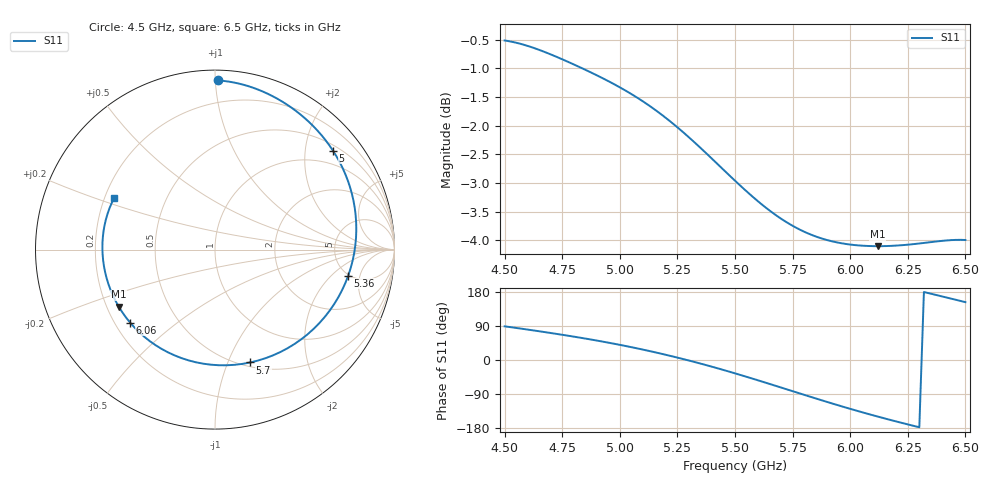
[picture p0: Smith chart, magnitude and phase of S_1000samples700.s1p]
! TOUCHSTONE file generated by CST MICROWAVE STUDIO
! Date and time: Sat Oct 29 02:03:46 2022
! Project name: L.cst
! Parameters = {Di=1.27; Epsilon_r=1.56; InnerDiameter=1.27; Length=2; Lf=10; Lg=60; OuterConductorThickness=0.2921; OuterDiameter=3.6; Wf=3; Wp=41.2; de=1.5; df=6.8; g=0.8; gx=4.48553; gy=2.58165; h=2.34; hf=1.524; px=12.7552; py=11.9156; w=9.7; wx=8.2697; wy=9.33393}
! Header version: 2018
! Port assignment regex: !\s*Touchstone port\s*([0-9]+)\s*=\s*(CST MWS port|CST DS port)\s*([0-9]+|Zmin|Zmax)\s*\(\"(.*)\"\)(\s*mode\s*([0-9]+))?.*
! Touchstone port assignment:
! Touchstone port 1 = CST MWS port 1 ("")
# GHz S DB R 50
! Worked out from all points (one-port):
!   101 points, 4.5 GHz to 6.5 GHz, reference 50 ohm
!   lowest |S11| = -4.1 dB at 6.12 GHz (marker M1), VSWR 4.31, Z = 12.4 - j12.9 ohm
!   |S11| at or under -10 dB: nowhere
!   S11 on the Smith chart (normalised r, x): 4.5 GHz: 0.06, +1.02; 5 GHz: 0.63, +2.62; 5.36 GHz: 4.90, -3.32; 5.7 GHz: 0.54, -1.21; 6.06 GHz: 0.26, -0.35; 6.5 GHz: 0.24, +0.23
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4.5  -0.51 88.8
4.62  -0.64 78.5
4.76  -0.86 65.6
4.88  -1.08 53.5
5  -1.33 40.0
5.08  -1.52 30.1
5.14  -1.69 22.1
5.2  -1.87 13.7
5.26  -2.06 4.8
5.36  -2.43 -11.0
5.42  -2.66 -21.1
5.5  -2.96 -35.2
5.6  -3.32 -53.7
5.66  -3.51 -65.0
5.7  -3.63 -72.7
5.76  -3.77 -84.2
5.82  -3.89 -95.7
5.88  -3.98 -107.0
5.94  -4.04 -118.1
6  -4.08 -128.9
6.06  -4.10 -139.3
6.12  -4.11 -149.3
6.18  -4.10 -159.0
6.26  -4.08 -171.5
6.32  -4.05 179.4
6.38  -4.02 170.5
6.44  -4.00 161.6
6.5  -4.00 152.7
